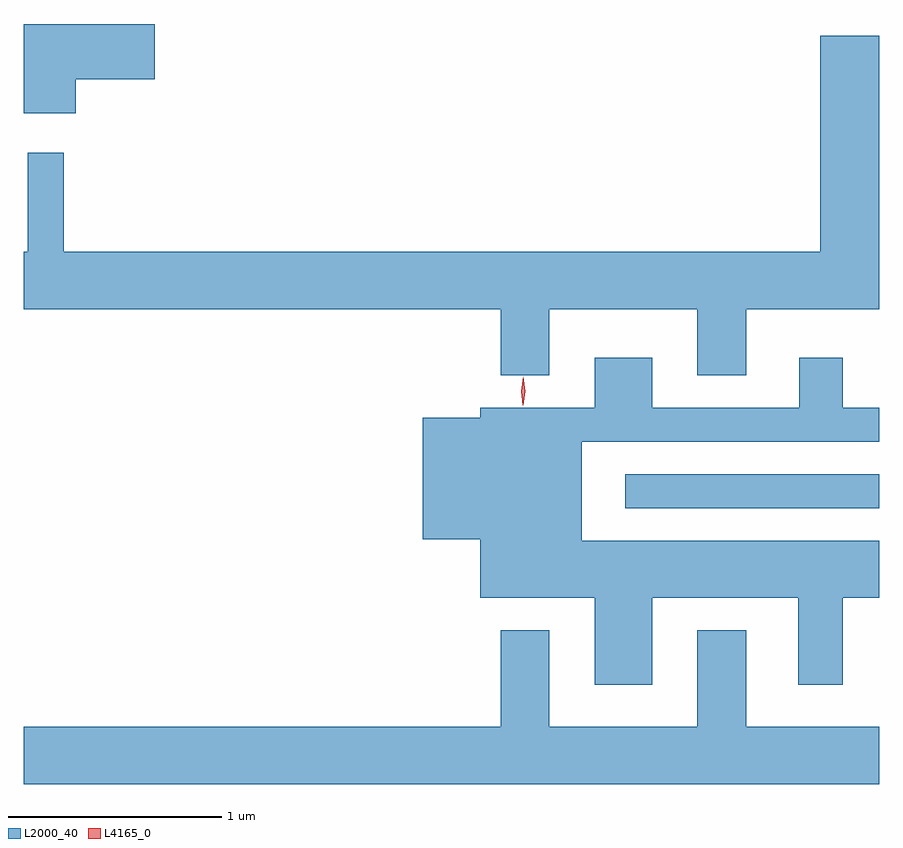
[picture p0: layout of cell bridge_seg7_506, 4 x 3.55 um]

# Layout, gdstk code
import gdstk
lib = gdstk.Library(unit=1e-6, precision=1e-09)
def R(c, l, rs):  # rectangles x0, y0, x1, y1
    for r in rs: c.add(gdstk.rectangle(r[:2], r[2:], *l))
def P(c, l, *ps):  # polygons
    for p in ps: c.add(gdstk.Polygon(p, *l))
L2000_40 = (2000, 40)
L4165_0 = (4165, 0)

bridge_seg7_506 = lib.new_cell('bridge_seg7_506')
R(bridge_seg7_506, L2000_40, [(1300.313,1680.086,1301.501,1680.244)])
P(bridge_seg7_506, L2000_40, [(1297.744,1682.091),(1298.114,1682.091),(1298.114,1682.349),(1297.501,1682.349),(1297.501,1681.931),(1297.744,1681.931)],
  [(1299.959,1681.016),(1300.651,1681.016),(1300.651,1680.706),(1300.879,1680.706),(1300.879,1681.016),(1301.501,1681.016),(1301.501,1682.294),(1301.226,1682.294),(1301.226,1681.284),(1297.689,1681.284),(1297.689,1681.748),(1297.521,1681.748),(1297.521,1681.284),(1297.501,1681.284),(1297.501,1681.016),(1299.731,1681.016),(1299.731,1680.706),(1299.959,1680.706)],
  [(1300.439,1679.666),(1301.121,1679.666),(1301.121,1679.261),(1301.329,1679.261),(1301.329,1679.666),(1301.501,1679.666),(1301.501,1679.934),(1300.109,1679.934),(1300.109,1680.396),(1301.501,1680.396),(1301.501,1680.554),(1301.329,1680.554),(1301.329,1680.789),(1301.126,1680.789),(1301.126,1680.554),(1300.439,1680.554),(1300.439,1680.789),(1300.171,1680.789),(1300.171,1680.554),(1299.636,1680.554),(1299.636,1680.509),(1299.366,1680.509),(1299.366,1679.941),(1299.636,1679.941),(1299.636,1679.666),(1300.171,1679.666),(1300.171,1679.261),(1300.439,1679.261)],
  [(1301.501,1679.064),(1300.879,1679.064),(1300.879,1679.514),(1300.651,1679.514),(1300.651,1679.064),(1299.959,1679.064),(1299.959,1679.514),(1299.731,1679.514),(1299.731,1679.064),(1297.501,1679.064),(1297.501,1678.796),(1301.501,1678.796)])
P(bridge_seg7_506, L4165_0, [(1299.835,1680.566),(1299.826,1680.633),(1299.836,1680.699),(1299.836,1680.7),(1299.837,1680.699),(1299.846,1680.633),(1299.836,1680.566),(1299.836,1680.566)])

lib.write_gds('bridge_seg7_506.gds')
